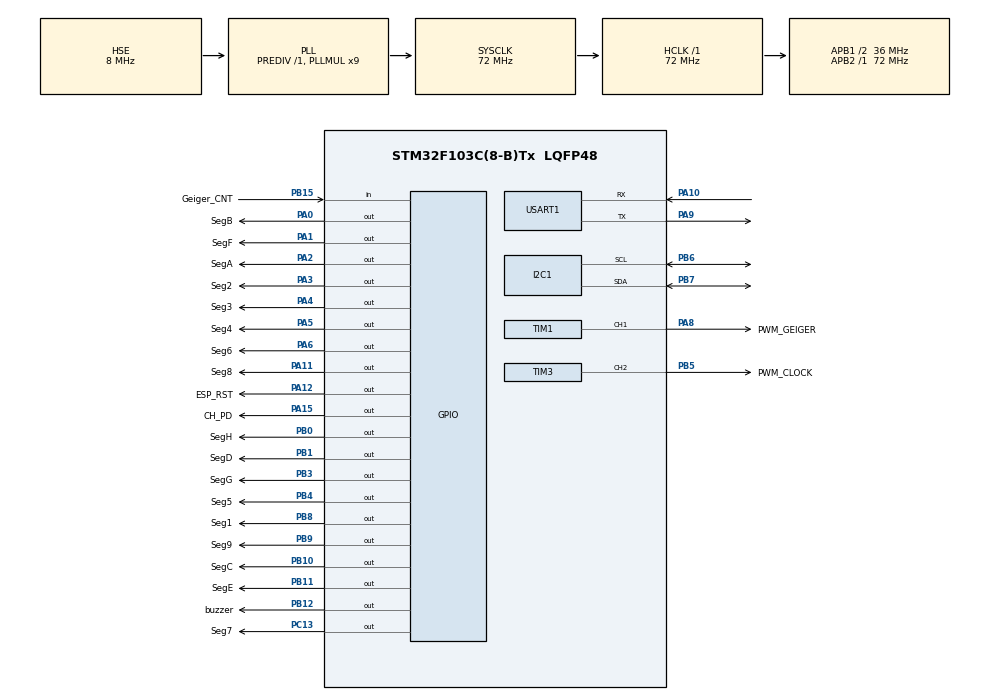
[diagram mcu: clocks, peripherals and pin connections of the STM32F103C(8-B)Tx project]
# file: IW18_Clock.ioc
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Mcu.Family=STM32F1
Mcu.Name=STM32F103C(8-B)Tx
Mcu.Package=LQFP48
NVIC.PriorityGroup=NVIC_PRIORITYGROUP_4
NVIC.TIM2_IRQn=true\:0\:0\:false\:false\:true\:true
NVIC.USART1_IRQn=true\:0\:0\:false\:false\:true\:true
PA0-WKUP.GPIO_Label=SegB
PA0-WKUP.GPIO_Speed=GPIO_SPEED_FREQ_HIGH
PA0-WKUP.PinState=GPIO_PIN_SET
PA0-WKUP.Signal=GPIO_Output
PA1.GPIO_Label=SegF
PA1.GPIO_Speed=GPIO_SPEED_FREQ_HIGH
PA1.PinState=GPIO_PIN_SET
PA1.Signal=GPIO_Output
PA10.GPIO_PuPd=GPIO_PULLUP
PA10.Mode=Asynchronous
PA10.Signal=USART1_RX
PA11.GPIO_Label=Seg8
PA11.GPIO_Speed=GPIO_SPEED_FREQ_HIGH
PA11.PinState=GPIO_PIN_SET
PA11.Signal=GPIO_Output
PA12.GPIO_Label=ESP_RST
PA12.Signal=GPIO_Output
PA13.Mode=Serial_Wire
PA13.Signal=SYS_JTMS-SWDIO
PA14.Mode=Serial_Wire
PA14.Signal=SYS_JTCK-SWCLK
PA15.GPIO_Label=CH_PD
PA15.Signal=GPIO_Output
PA2.GPIO_Label=SegA
PA2.GPIO_Speed=GPIO_SPEED_FREQ_HIGH
PA2.PinState=GPIO_PIN_SET
PA2.Signal=GPIO_Output
PA3.GPIO_Label=Seg2
PA3.GPIO_ModeDefaultOutputPP=GPIO_MODE_OUTPUT_PP
PA3.GPIO_Speed=GPIO_SPEED_FREQ_HIGH
PA3.PinState=GPIO_PIN_SET
PA3.Signal=GPIO_Output
PA4.GPIO_Label=Seg3
PA4.GPIO_ModeDefaultOutputPP=GPIO_MODE_OUTPUT_PP
PA4.GPIO_Speed=GPIO_SPEED_FREQ_HIGH
PA4.PinState=GPIO_PIN_SET
PA4.Signal=GPIO_Output
PA5.GPIO_Label=Seg4
PA5.GPIO_ModeDefaultOutputPP=GPIO_MODE_OUTPUT_PP
PA5.GPIO_Speed=GPIO_SPEED_FREQ_HIGH
PA5.PinState=GPIO_PIN_SET
PA5.Signal=GPIO_Output
PA6.GPIO_Label=Seg6
PA6.GPIO_Speed=GPIO_SPEED_FREQ_HIGH
PA6.PinState=GPIO_PIN_SET
PA6.Signal=GPIO_Output
PA8.GPIO_Label=PWM_GEIGER
PA8.Signal=S_TIM1_CH1
PA9.Mode=Asynchronous
PA9.Signal=USART1_TX
PB0.GPIO_Label=SegH
PB0.GPIO_Speed=GPIO_SPEED_FREQ_HIGH
PB0.PinState=GPIO_PIN_SET
PB0.Signal=GPIO_Output
PB1.GPIO_Label=SegD
PB1.GPIO_Speed=GPIO_SPEED_FREQ_HIGH
PB1.PinState=GPIO_PIN_SET
PB1.Signal=GPIO_Output
PB10.GPIO_Label=SegC
PB10.GPIO_Speed=GPIO_SPEED_FREQ_HIGH
PB10.PinState=GPIO_PIN_SET
PB10.Signal=GPIO_Output
PB11.GPIO_Label=SegE
PB11.GPIO_Speed=GPIO_SPEED_FREQ_HIGH
PB11.PinState=GPIO_PIN_SET
PB11.Signal=GPIO_Output
PB12.GPIO_Label=buzzer
PB12.GPIO_Speed=GPIO_SPEED_FREQ_HIGH
PB12.PinState=GPIO_PIN_SET
PB12.Signal=GPIO_Output
PB15.GPIO_Label=Geiger_CNT
PB15.GPIO_PuPd=GPIO_PULLUP
PB15.Signal=GPIO_Input
PB3.GPIO_Label=SegG
PB3.GPIO_Speed=GPIO_SPEED_FREQ_HIGH
PB3.PinState=GPIO_PIN_SET
PB3.Signal=GPIO_Output
PB4.GPIO_Label=Seg5
PB4.GPIO_Speed=GPIO_SPEED_FREQ_HIGH
PB4.PinState=GPIO_PIN_SET
PB4.Signal=GPIO_Output
PB5.GPIO_Label=PWM_CLOCK
PB5.Signal=S_TIM3_CH2
PB6.Mode=I2C
PB6.Signal=I2C1_SCL
PB7.Mode=I2C
PB7.Signal=I2C1_SDA
PB8.GPIO_Label=Seg1
PB8.GPIO_ModeDefaultOutputPP=GPIO_MODE_OUTPUT_PP
PB8.GPIO_Speed=GPIO_SPEED_FREQ_HIGH
PB8.PinState=GPIO_PIN_SET
PB8.Signal=GPIO_Output
PB9.GPIO_Label=Seg9
PB9.GPIO_ModeDefaultOutputPP=GPIO_MODE_OUTPUT_PP
PB9.GPIO_Speed=GPIO_SPEED_FREQ_HIGH
PB9.PinState=GPIO_PIN_SET
PB9.Signal=GPIO_Output
PC13-TAMPER-RTC.GPIO_Label=Seg7
PC13-TAMPER-RTC.GPIO_Speed=GPIO_SPEED_FREQ_HIGH
PC13-TAMPER-RTC.PinState=GPIO_PIN_SET
PC13-TAMPER-RTC.Signal=GPIO_Output
PC14-OSC32_IN.Mode=LSE-External-Oscillator
PC14-OSC32_IN.Signal=RCC_OSC32_IN
PC15-OSC32_OUT.Mode=LSE-External-Oscillator
PC15-OSC32_OUT.Signal=RCC_OSC32_OUT
PD0-OSC_IN.Mode=HSE-External-Oscillator
PD0-OSC_IN.Signal=RCC_OSC_IN
PD1-OSC_OUT.Mode=HSE-External-Oscillator
PD1-OSC_OUT.Signal=RCC_OSC_OUT
ProjectManager.HeapSize=0x200
ProjectManager.StackSize=0x400
ProjectManager.TargetToolchain=TrueSTUDIO
RCC.AHBFreq_Value=72000000
RCC.APB1CLKDivider=RCC_HCLK_DIV2
RCC.APB1Freq_Value=36000000
RCC.APB1TimFreq_Value=72000000
RCC.APB2Freq_Value=72000000
RCC.APB2TimFreq_Value=72000000
RCC.EnbaleCSS=true
RCC.HCLKFreq_Value=72000000
RCC.PLLMUL=RCC_PLL_MUL9
RCC.PLLSourceVirtual=RCC_PLLSOURCE_HSE
RCC.SYSCLKFreq_VALUE=72000000
RCC.SYSCLKSource=RCC_SYSCLKSOURCE_PLLCLK
RCC.USBFreq_Value=72000000
RTC.AsynchPrediv=RTC_AUTO_1_SECOND
RTC.AutoPrediv=RTC_AUTO_1_SECOND
RTC.Date=5
RTC.Format=RTC_FORMAT_BIN
RTC.Hours=9
RTC.Minutes=48
RTC.Month=RTC_MONTH_NOVEMBER
RTC.WeekDay=RTC_WEEKDAY_SUNDAY
RTC.Year=17
SH.S_TIM1_CH1.0=TIM1_CH1,PWM Generation1 CH1
SH.S_TIM3_CH2.0=TIM3_CH2,PWM Generation2 CH2
TIM1.Channel-PWM\ Generation1\ CH1=TIM_CHANNEL_1
TIM1.OCFastMode_PWM-PWM\ Generation1\ CH1=TIM_OCFAST_DISABLE
TIM1.OCPolarity_1=TIM_OCPOLARITY_HIGH
TIM1.Period=65535
TIM1.Prescaler=0
TIM1.Pulse-PWM\ Generation1\ CH1=100
TIM1.RepetitionCounter=200
TIM2.AutoReloadPreload=TIM_AUTORELOAD_PRELOAD_ENABLE
TIM2.Period=1
TIM2.Prescaler=28500
TIM3.Channel-PWM\ Generation2\ CH2=TIM_CHANNEL_2
USART1.VirtualMode=VM_ASYNC
VP_RTC_No_RTC_Output.Mode=RTC_OUT_NO
VP_RTC_VS_RTC_Activate.Mode=RTC_Enabled
VP_RTC_VS_RTC_Calendar.Mode=RTC_Calendar
VP_TIM1_VS_ClockSourceINT.Mode=Internal
VP_TIM2_VS_ClockSourceINT.Mode=Internal
VP_TIM2_VS_ClockSourceITR.Mode=TriggerSource_ITR0
VP_TIM2_VS_ControllerModeReset.Mode=Reset Mode
VP_TIM3_VS_ClockSourceINT.Mode=Internal
board=IW18_Clock

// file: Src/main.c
/**
  ******************************************************************************
  * @file           : main.c
  * @brief          : Main program body
  ******************************************************************************
  ** This notice applies to any and all portions of this file
  * that are not between comment pairs USER CODE BEGIN and
  * USER CODE END. Other portions of this file, whether
  * inserted by the user or by software development tools
  * are owned by their respective copyright owners.
  *
  * COPYRIGHT(c) 2018 STMicroelectronics
  *
  * Redistribution and use in source and binary forms, with or without modification,
  * are permitted provided that the following conditions are met:
  *   1. Redistributions of source code must retain the above copyright notice,
  *      this list of conditions and the following disclaimer.
  *   2. Redistributions in binary form must reproduce the above copyright notice,
  *      this list of conditions and the following disclaimer in the documentation
  *      and/or other materials provided with the distribution.
  *   3. Neither the name of STMicroelectronics nor the names of its contributors
  *      may be used to endorse or promote products derived from this software
  *      without specific prior written permission.
  *
  * THIS SOFTWARE IS PROVIDED BY THE COPYRIGHT HOLDERS AND CONTRIBUTORS "AS IS"
  * AND ANY EXPRESS OR IMPLIED WARRANTIES, INCLUDING, BUT NOT LIMITED TO, THE
  * IMPLIED WARRANTIES OF MERCHANTABILITY AND FITNESS FOR A PARTICULAR PURPOSE ARE
  * DISCLAIMED. IN NO EVENT SHALL THE COPYRIGHT HOLDER OR CONTRIBUTORS BE LIABLE
  * FOR ANY DIRECT, INDIRECT, INCIDENTAL, SPECIAL, EXEMPLARY, OR CONSEQUENTIAL
  * DAMAGES (INCLUDING, BUT NOT LIMITED TO, PROCUREMENT OF SUBSTITUTE GOODS OR
  * SERVICES; LOSS OF USE, DATA, OR PROFITS; OR BUSINESS INTERRUPTION) HOWEVER
  * CAUSED AND ON ANY THEORY OF LIABILITY, WHETHER IN CONTRACT, STRICT LIABILITY,
  * OR TORT (INCLUDING NEGLIGENCE OR OTHERWISE) ARISING IN ANY WAY OUT OF THE USE
  * OF THIS SOFTWARE, EVEN IF ADVISED OF THE POSSIBILITY OF SUCH DAMAGE.
  *
  ******************************************************************************
  */
#include "main.h"
#include "stm32f1xx_hal.h"

/* USER CODE BEGIN Includes */
#include <string.h> /* memset */
#include <unistd.h> /* close */
#include "stm32f1xx_hal_uart.h"
#include <stdlib.h>     /* atoi */
#include "Buffers.h"
#include "UartCommand.h"
#include "CommandsManager.h"
#include "Ntp.h"
/* USER CODE END Includes */

I2C_HandleTypeDef hi2c1;

RTC_HandleTypeDef hrtc;

TIM_HandleTypeDef htim1;
TIM_HandleTypeDef htim2;
TIM_HandleTypeDef htim3;

UART_HandleTypeDef huart1;

/* USER CODE BEGIN PV */
/* Private variables ---------------------------------------------------------*/
static char buf[10] = {0};
static IW18_PinState dots[9] = {OFF};
IW18_PinState uart_led = OFF;
static uint8_t index = 0;
static UartCommand* pCommands2 = 0;
/* USER CODE END PV */

void SystemClock_Config(void);
static void MX_GPIO_Init(void);
static void MX_I2C1_Init(void);
static void MX_USART1_UART_Init(void);
static void MX_RTC_Init(void);
static void MX_TIM2_Init(void);
static void MX_TIM1_Init(void);
static void MX_TIM3_Init(void);

void HAL_TIM_MspPostInit(TIM_HandleTypeDef *htim);

/* USER CODE BEGIN PFP */
/* Private function prototypes -----------------------------------------------*/
void gpio_clr(GPIO_PinState state);
void printCharOnSegment(GPIO_TypeDef* GPIOx, uint16_t GPIO_Pin, char num, IW18_PinState dot);
void setDateTime(char* pBuf);
void user_pwm_setvalue(uint16_t value);
extern void TIM2_callback();

/* USER CODE END PFP */

/* USER CODE BEGIN 0 */
extern void initialise_monitor_handles(void);
/* USER CODE END 0 */

int main(void)
{

  /* MCU Configuration----------------------------------------------------------*/

  /* Reset of all peripherals, Initializes the Flash interface and the Systick. */
  HAL_Init();

  /* Configure the system clock */
  SystemClock_Config();

  /* Initialize all configured peripherals */
  MX_GPIO_Init();
  MX_I2C1_Init();
  MX_USART1_UART_Init();
  MX_RTC_Init();
  MX_TIM2_Init();
  MX_TIM1_Init();
  MX_TIM3_Init();
  /* USER CODE BEGIN 2 */
  HAL_TIM_Base_Start_IT(&htim2);
  //user_pwm_setvalue(100);
  HAL_TIM_PWM_Start(&htim1, TIM_CHANNEL_1);

  //user_pwm_setvalue(300);
  HAL_TIM_PWM_Start(&htim1, TIM_CHANNEL_1);

  /* USER CODE END 2 */

  /* Infinite loop */
  /* USER CODE BEGIN WHILE */
  //initialise_monitor_handles();
  CM_init();
  Buffers_init();
  NTP_init(&hrtc);
  CM_SetUartHandle(&huart1);
  memset(dots,OFF,9);
  UartCommand test[5];
  pCommands2 = &test[0];
  //test[0] = UC_CreateUartCommand(GetCmdID(), NTP_ReserveBufferTxEnter, ReadEnter);
//  test[0] = UC_CreateUartCommand(GetCmdID(), NTP_ReserveBufferTx4Sync, ReadSync);
//  test[1] = UC_CreateUartCommand(GetCmdID(), NTP_ReserveBufferTx4Time, ReadTime);
//  test[2] = UC_CreateUartCommand(GetCmdID(), NTP_ReserveBufferTx4Hum, ReadHumi);

  UartCommand* cmd = &test[index];
  //HAL_StatusTypeDef def = HAL_UART_Transmit_IT(&huart1, (uint8_t*)(cmd->m_Tx.buf_cmd), cmd->m_Tx.buf_size);
  cmd = &test[1];
  RTC_TimeTypeDef sTime;

  sTime.Hours = 0;
  sTime.Minutes = 0;
  sTime.Seconds = 0x0;

  RTC_DateTypeDef DateToUpdate;
  HAL_RTC_GetDate(&hrtc, &DateToUpdate, RTC_FORMAT_BIN);
  uint16_t pwm=0;

  while (1)
  {
  /* USER CODE END WHILE */

  /* USER CODE BEGIN 3 */
	 // HAL_Delay(500);
	  //HAL_TIM_PWM_Stop(&htim1, TIM_CHANNEL_1);
	  //user_pwm_setvalue(pwm);
	  pwm=pwm+10;
	  if(pwm>1000) pwm=0;
	  //HAL_TIM_PWM_Start(&htim1, TIM_CHANNEL_1);

	  //HAL_Delay(1000);
	  CM_StateManager();
	  CM_ExecuteCommand();
	  GPIO_PinState state = HAL_GPIO_ReadPin(GPIOB,Geiger_CNT_Pin);
	  if(state == GPIO_PIN_SET)
	  {
		  HAL_Delay(100);
		  state = GPIO_PIN_RESET;
	  }

//  cmd = &test[1];
//  if(cmd->m_IsRecivedData)
//  {
//	  setDateTime(cmd->m_Rx.buf_cmd);
//	  cmd->m_IsRecivedData = 0;
//  }
//
//  cmd = &test[2];
//  if(cmd->m_IsRecivedData)
//  {
//	  //setHumidity(cmd->m_Rx.buf_cmd);
//	  cmd->m_IsRecivedData = 0;
//  }
//
//  if( HAL_OK== HAL_RTC_GetTime(&hrtc, &sTime, RTC_FORMAT_BIN) )
//  {
//	  sprintf(&buf[0],"%02d-%02d-%02d", sTime.Hours, sTime.Minutes, sTime.Seconds );
//  }

  }
  /* USER CODE END 3 */

}

void SystemClock_Config(void)
{

  RCC_OscInitTypeDef RCC_OscInitStruct;
  RCC_ClkInitTypeDef RCC_ClkInitStruct;
  RCC_PeriphCLKInitTypeDef PeriphClkInit;

    /**Initializes the CPU, AHB and APB busses clocks
    */
  RCC_OscInitStruct.OscillatorType = RCC_OSCILLATORTYPE_LSI|RCC_OSCILLATORTYPE_HSE;
  RCC_OscInitStruct.HSEState = RCC_HSE_ON;
  RCC_OscInitStruct.HSEPredivValue = RCC_HSE_PREDIV_DIV1;
  RCC_OscInitStruct.HSIState = RCC_HSI_ON;
  RCC_OscInitStruct.LSIState = RCC_LSI_ON;
  RCC_OscInitStruct.PLL.PLLState = RCC_PLL_ON;
  RCC_OscInitStruct.PLL.PLLSource = RCC_PLLSOURCE_HSE;
  RCC_OscInitStruct.PLL.PLLMUL = RCC_PLL_MUL9;
  if (HAL_RCC_OscConfig(&RCC_OscInitStruct) != HAL_OK)
  {
    _Error_Handler(__FILE__, __LINE__);
  }

    /**Initializes the CPU, AHB and APB busses clocks
    */
  RCC_ClkInitStruct.ClockType = RCC_CLOCKTYPE_HCLK|RCC_CLOCKTYPE_SYSCLK
                              |RCC_CLOCKTYPE_PCLK1|RCC_CLOCKTYPE_PCLK2;
  RCC_ClkInitStruct.SYSCLKSource = RCC_SYSCLKSOURCE_PLLCLK;
  RCC_ClkInitStruct.AHBCLKDivider = RCC_SYSCLK_DIV1;
  RCC_ClkInitStruct.APB1CLKDivider = RCC_HCLK_DIV2;
  RCC_ClkInitStruct.APB2CLKDivider = RCC_HCLK_DIV1;

  if (HAL_RCC_ClockConfig(&RCC_ClkInitStruct, FLASH_LATENCY_2) != HAL_OK)
  {
    _Error_Handler(__FILE__, __LINE__);
  }

  PeriphClkInit.PeriphClockSelection = RCC_PERIPHCLK_RTC;
  PeriphClkInit.RTCClockSelection = RCC_RTCCLKSOURCE_LSI;
  if (HAL_RCCEx_PeriphCLKConfig(&PeriphClkInit) != HAL_OK)
  {
    _Error_Handler(__FILE__, __LINE__);
  }

    /**Enables the Clock Security System
    */
  HAL_RCC_EnableCSS();

    /**Configure the Systick interrupt time
    */
  HAL_SYSTICK_Config(HAL_RCC_GetHCLKFreq()/1000);

    /**Configure the Systick
    */
  HAL_SYSTICK_CLKSourceConfig(SYSTICK_CLKSOURCE_HCLK);

  /* SysTick_IRQn interrupt configuration */
  HAL_NVIC_SetPriority(SysTick_IRQn, 0, 0);
}

/* I2C1 init function */
static void MX_I2C1_Init(void)
{

  hi2c1.Instance = I2C1;
  hi2c1.Init.ClockSpeed = 100000;
  hi2c1.Init.DutyCycle = I2C_DUTYCYCLE_2;
  hi2c1.Init.OwnAddress1 = 0;
  hi2c1.Init.AddressingMode = I2C_ADDRESSINGMODE_7BIT;
  hi2c1.Init.DualAddressMode = I2C_DUALADDRESS_DISABLE;
  hi2c1.Init.OwnAddress2 = 0;
  hi2c1.Init.GeneralCallMode = I2C_GENERALCALL_DISABLE;
  hi2c1.Init.NoStretchMode = I2C_NOSTRETCH_DISABLE;
  if (HAL_I2C_Init(&hi2c1) != HAL_OK)
  {
    _Error_Handler(__FILE__, __LINE__);
  }

}

/* RTC init function */
static void MX_RTC_Init(void)
{

  RTC_TimeTypeDef sTime;
  RTC_DateTypeDef DateToUpdate;

    /**Initialize RTC Only
    */
  hrtc.Instance = RTC;
  if(HAL_RTCEx_BKUPRead(&hrtc, RTC_BKP_DR1) != 0x32F2){
  hrtc.Init.AsynchPrediv = RTC_AUTO_1_SECOND;
  hrtc.Init.OutPut = RTC_OUTPUTSOURCE_NONE;
  if (HAL_RTC_Init(&hrtc) != HAL_OK)
  {
    _Error_Handler(__FILE__, __LINE__);
  }

    /**Initialize RTC and set the Time and Date
    */
  sTime.Hours = 9;
  sTime.Minutes = 48;
  sTime.Seconds = 0;

  if (HAL_RTC_SetTime(&hrtc, &sTime, RTC_FORMAT_BIN) != HAL_OK)
  {
    _Error_Handler(__FILE__, __LINE__);
  }

  DateToUpdate.WeekDay = RTC_WEEKDAY_SUNDAY;
  DateToUpdate.Month = RTC_MONTH_NOVEMBER;
  DateToUpdate.Date = 5;
  DateToUpdate.Year = 17;

  if (HAL_RTC_SetDate(&hrtc, &DateToUpdate, RTC_FORMAT_BIN) != HAL_OK)
  {
    _Error_Handler(__FILE__, __LINE__);
  }

    HAL_RTCEx_BKUPWrite(&hrtc,RTC_BKP_DR1,0x32F2);
  }

}

/* TIM1 init function */
static void MX_TIM1_Init(void)
{

  TIM_ClockConfigTypeDef sClockSourceConfig;
  TIM_MasterConfigTypeDef sMasterConfig;
  TIM_OC_InitTypeDef sConfigOC;
  TIM_BreakDeadTimeConfigTypeDef sBreakDeadTimeConfig;

  htim1.Instance = TIM1;
  htim1.Init.Prescaler = 0;
  htim1.Init.CounterMode = TIM_COUNTERMODE_UP;
  htim1.Init.Period = 65535;
  htim1.Init.ClockDivision = TIM_CLOCKDIVISION_DIV1;
  htim1.Init.RepetitionCounter = 200;
  htim1.Init.AutoReloadPreload = TIM_AUTORELOAD_PRELOAD_DISABLE;
  if (HAL_TIM_Base_Init(&htim1) != HAL_OK)
  {
    _Error_Handler(__FILE__, __LINE__);
  }

  sClockSourceConfig.ClockSource = TIM_CLOCKSOURCE_INTERNAL;
  if (HAL_TIM_ConfigClockSource(&htim1, &sClockSourceConfig) != HAL_OK)
  {
    _Error_Handler(__FILE__, __LINE__);
  }

  if (HAL_TIM_PWM_Init(&htim1) != HAL_OK)
  {
    _Error_Handler(__FILE__, __LINE__);
  }

  sMasterConfig.MasterOutputTrigger = TIM_TRGO_RESET;
  sMasterConfig.MasterSlaveMode = TIM_MASTERSLAVEMODE_DISABLE;
  if (HAL_TIMEx_MasterConfigSynchronization(&htim1, &sMasterConfig) != HAL_OK)
  {
    _Error_Handler(__FILE__, __LINE__);
  }

  sConfigOC.OCMode = TIM_OCMODE_PWM1;
  sConfigOC.Pulse = 100;
  sConfigOC.OCPolarity = TIM_OCPOLARITY_HIGH;
  sConfigOC.OCNPolarity = TIM_OCNPOLARITY_HIGH;
  sConfigOC.OCFastMode = TIM_OCFAST_DISABLE;
  sConfigOC.OCIdleState = TIM_OCIDLESTATE_RESET;
  sConfigOC.OCNIdleState = TIM_OCNIDLESTATE_RESET;
  if (HAL_TIM_PWM_ConfigChannel(&htim1, &sConfigOC, TIM_CHANNEL_1) != HAL_OK)
  {
    _Error_Handler(__FILE__, __LINE__);
  }

  sBreakDeadTimeConfig.OffStateRunMode = TIM_OSSR_DISABLE;
  sBreakDeadTimeConfig.OffStateIDLEMode = TIM_OSSI_DISABLE;
  sBreakDeadTimeConfig.LockLevel = TIM_LOCKLEVEL_OFF;
  sBreakDeadTimeConfig.DeadTime = 0;
  sBreakDeadTimeConfig.BreakState = TIM_BREAK_DISABLE;
  sBreakDeadTimeConfig.BreakPolarity = TIM_BREAKPOLARITY_HIGH;
  sBreakDeadTimeConfig.AutomaticOutput = TIM_AUTOMATICOUTPUT_DISABLE;
  if (HAL_TIMEx_ConfigBreakDeadTime(&htim1, &sBreakDeadTimeConfig) != HAL_OK)
  {
    _Error_Handler(__FILE__, __LINE__);
  }

  HAL_TIM_MspPostInit(&htim1);

}

/* TIM2 init function */
static void MX_TIM2_Init(void)
{

  TIM_ClockConfigTypeDef sClockSourceConfig;
  TIM_SlaveConfigTypeDef sSlaveConfig;
  TIM_MasterConfigTypeDef sMasterConfig;

  htim2.Instance = TIM2;
  htim2.Init.Prescaler = 28500;
  htim2.Init.CounterMode = TIM_COUNTERMODE_UP;
  htim2.Init.Period = 1;
  htim2.Init.ClockDivision = TIM_CLOCKDIVISION_DIV1;
  htim2.Init.AutoReloadPreload = TIM_AUTORELOAD_PRELOAD_ENABLE;
  if (HAL_TIM_Base_Init(&htim2) != HAL_OK)
  {
    _Error_Handler(__FILE__, __LINE__);
  }

  sClockSourceConfig.ClockSource = TIM_CLOCKSOURCE_INTERNAL;
  if (HAL_TIM_ConfigClockSource(&htim2, &sClockSourceConfig) != HAL_OK)
  {
    _Error_Handler(__FILE__, __LINE__);
  }

  sSlaveConfig.SlaveMode = TIM_SLAVEMODE_RESET;
  sSlaveConfig.InputTrigger = TIM_TS_ITR0;
  if (HAL_TIM_SlaveConfigSynchronization(&htim2, &sSlaveConfig) != HAL_OK)
  {
    _Error_Handler(__FILE__, __LINE__);
  }

  sMasterConfig.MasterOutputTrigger = TIM_TRGO_RESET;
  sMasterConfig.MasterSlaveMode = TIM_MASTERSLAVEMODE_DISABLE;
  if (HAL_TIMEx_MasterConfigSynchronization(&htim2, &sMasterConfig) != HAL_OK)
  {
    _Error_Handler(__FILE__, __LINE__);
  }

}

/* TIM3 init function */
static void MX_TIM3_Init(void)
{

  TIM_ClockConfigTypeDef sClockSourceConfig;
  TIM_MasterConfigTypeDef sMasterConfig;
  TIM_OC_InitTypeDef sConfigOC;

  htim3.Instance = TIM3;
  htim3.Init.Prescaler = 0;
  htim3.Init.CounterMode = TIM_COUNTERMODE_UP;
  htim3.Init.Period = 0;
  htim3.Init.ClockDivision = TIM_CLOCKDIVISION_DIV1;
  htim3.Init.AutoReloadPreload = TIM_AUTORELOAD_PRELOAD_DISABLE;
  if (HAL_TIM_Base_Init(&htim3) != HAL_OK)
  {
    _Error_Handler(__FILE__, __LINE__);
  }

  sClockSourceConfig.ClockSource = TIM_CLOCKSOURCE_INTERNAL;
  if (HAL_TIM_ConfigClockSource(&htim3, &sClockSourceConfig) != HAL_OK)
  {
    _Error_Handler(__FILE__, __LINE__);
  }

  if (HAL_TIM_PWM_Init(&htim3) != HAL_OK)
  {
    _Error_Handler(__FILE__, __LINE__);
  }

  sMasterConfig.MasterOutputTrigger = TIM_TRGO_RESET;
  sMasterConfig.MasterSlaveMode = TIM_MASTERSLAVEMODE_DISABLE;
  if (HAL_TIMEx_MasterConfigSynchronization(&htim3, &sMasterConfig) != HAL_OK)
  {
    _Error_Handler(__FILE__, __LINE__);
  }

  sConfigOC.OCMode = TIM_OCMODE_PWM1;
  sConfigOC.Pulse = 0;
  sConfigOC.OCPolarity = TIM_OCPOLARITY_HIGH;
  sConfigOC.OCFastMode = TIM_OCFAST_DISABLE;
  if (HAL_TIM_PWM_ConfigChannel(&htim3, &sConfigOC, TIM_CHANNEL_2) != HAL_OK)
  {
    _Error_Handler(__FILE__, __LINE__);
  }

  HAL_TIM_MspPostInit(&htim3);

}

/* USART1 init function */
static void MX_USART1_UART_Init(void)
{

  huart1.Instance = USART1;
  huart1.Init.BaudRate = 115200;
  huart1.Init.WordLength = UART_WORDLENGTH_8B;
  huart1.Init.StopBits = UART_STOPBITS_1;
  huart1.Init.Parity = UART_PARITY_NONE;
  huart1.Init.Mode = UART_MODE_TX_RX;
  huart1.Init.HwFlowCtl = UART_HWCONTROL_NONE;
  huart1.Init.OverSampling = UART_OVERSAMPLING_16;
  if (HAL_UART_Init(&huart1) != HAL_OK)
  {
    _Error_Handler(__FILE__, __LINE__);
  }

}

/** Configure pins as
        * Analog
        * Input
        * Output
        * EVENT_OUT
        * EXTI
*/
static void MX_GPIO_Init(void)
{

  GPIO_InitTypeDef GPIO_InitStruct;

  /* GPIO Ports Clock Enable */
  __HAL_RCC_GPIOC_CLK_ENABLE();
  __HAL_RCC_GPIOD_CLK_ENABLE();
  __HAL_RCC_GPIOA_CLK_ENABLE();
  __HAL_RCC_GPIOB_CLK_ENABLE();

  /*Configure GPIO pin Output Level */
  HAL_GPIO_WritePin(Seg7_GPIO_Port, Seg7_Pin, GPIO_PIN_SET);

  /*Configure GPIO pin Output Level */
  HAL_GPIO_WritePin(GPIOA, SegB_Pin|SegF_Pin|SegA_Pin|Seg2_Pin
                          |Seg3_Pin|Seg4_Pin|Seg6_Pin|Seg8_Pin, GPIO_PIN_SET);

  /*Configure GPIO pin Output Level */
  HAL_GPIO_WritePin(GPIOB, SegH_Pin|SegD_Pin|SegC_Pin|SegE_Pin
                          |buzzer_Pin|SegG_Pin|Seg5_Pin|Seg1_Pin
                          |Seg9_Pin, GPIO_PIN_SET);

  /*Configure GPIO pin Output Level */
  HAL_GPIO_WritePin(GPIOA, ESP_RST_Pin|CH_PD_Pin, GPIO_PIN_RESET);

  /*Configure GPIO pin : Seg7_Pin */
  GPIO_InitStruct.Pin = Seg7_Pin;
  GPIO_InitStruct.Mode = GPIO_MODE_OUTPUT_PP;
  GPIO_InitStruct.Speed = GPIO_SPEED_FREQ_HIGH;
  HAL_GPIO_Init(Seg7_GPIO_Port, &GPIO_InitStruct);

  /*Configure GPIO pins : SegB_Pin SegF_Pin SegA_Pin Seg2_Pin
                           Seg3_Pin Seg4_Pin Seg6_Pin Seg8_Pin */
  GPIO_InitStruct.Pin = SegB_Pin|SegF_Pin|SegA_Pin|Seg2_Pin
                          |Seg3_Pin|Seg4_Pin|Seg6_Pin|Seg8_Pin;
  GPIO_InitStruct.Mode = GPIO_MODE_OUTPUT_PP;
  GPIO_InitStruct.Speed = GPIO_SPEED_FREQ_HIGH;
  HAL_GPIO_Init(GPIOA, &GPIO_InitStruct);

  /*Configure GPIO pins : SegH_Pin SegD_Pin SegC_Pin SegE_Pin
                           buzzer_Pin SegG_Pin Seg5_Pin Seg1_Pin
                           Seg9_Pin */
  GPIO_InitStruct.Pin = SegH_Pin|SegD_Pin|SegC_Pin|SegE_Pin
                          |buzzer_Pin|SegG_Pin|Seg5_Pin|Seg1_Pin
                          |Seg9_Pin;
  GPIO_InitStruct.Mode = GPIO_MODE_OUTPUT_PP;
  GPIO_InitStruct.Speed = GPIO_SPEED_FREQ_HIGH;
  HAL_GPIO_Init(GPIOB, &GPIO_InitStruct);

  /*Configure GPIO pin : Geiger_CNT_Pin */
  GPIO_InitStruct.Pin = Geiger_CNT_Pin;
  GPIO_InitStruct.Mode = GPIO_MODE_INPUT;
  GPIO_InitStruct.Pull = GPIO_NOPULL;
  HAL_GPIO_Init(Geiger_CNT_GPIO_Port, &GPIO_InitStruct);

  /*Configure GPIO pins : ESP_RST_Pin CH_PD_Pin */
  GPIO_InitStruct.Pin = ESP_RST_Pin|CH_PD_Pin;
  GPIO_InitStruct.Mode = GPIO_MODE_OUTPUT_PP;
  GPIO_InitStruct.Speed = GPIO_SPEED_FREQ_LOW;
  HAL_GPIO_Init(GPIOA, &GPIO_InitStruct);
}

/* USER CODE BEGIN 4 */
void gpio_clr(GPIO_PinState state)
{
	  HAL_GPIO_WritePin(GPIOB, Seg1_Pin|Seg5_Pin|Seg9_Pin|SegC_Pin|SegD_Pin|SegE_Pin|SegG_Pin|SegH_Pin, state);
	  HAL_GPIO_WritePin(GPIOC, Seg7_Pin, state);
	  HAL_GPIO_WritePin(GPIOA, Seg2_Pin|Seg3_Pin|Seg4_Pin|Seg6_Pin|Seg8_Pin|SegA_Pin|SegB_Pin|SegF_Pin, state);
}
void user_pwm_setvalue(uint16_t value)
{
    TIM_OC_InitTypeDef sConfigOC;

    sConfigOC.OCMode = TIM_OCMODE_PWM1;
    sConfigOC.Pulse = value;
    sConfigOC.OCPolarity = TIM_OCPOLARITY_HIGH;
    sConfigOC.OCFastMode = TIM_OCFAST_ENABLE;
    HAL_TIM_PWM_ConfigChannel(&htim1, &sConfigOC, TIM_CHANNEL_1);

//    while((TIM1->EGR & TIM_EGR_UG) == SET){}
//
     TIM1->EGR |= TIM_EGR_UG;
//     TIM1->BDTR |= TIM_BDTR_MOE;
//     TIM1->CCER |= TIM_CCER_CC1E;
//     TIM1->CR1 |= TIM_CR1_CEN;
    HAL_TIM_PWM_Start(&htim1, TIM_CHANNEL_1);
}
void printCharOnSegment(GPIO_TypeDef* GPIOx, uint16_t GPIO_Pin, char num, IW18_PinState dot)
{

	gpio_clr(OFF);

	HAL_GPIO_WritePin(GPIOx, GPIO_Pin, ON);
	// '-' = 45, //'0' = 48 ....'9' = 59
	if(num == '0'){

		  HAL_GPIO_WritePin(GPIOA,SegA_Pin,ON);
		  HAL_GPIO_WritePin(GPIOA,SegB_Pin,ON);
		  HAL_GPIO_WritePin(GPIOB,SegC_Pin,ON);
		  HAL_GPIO_WritePin(GPIOB,SegD_Pin,ON);
		  HAL_GPIO_WritePin(GPIOB,SegE_Pin,ON);
		  HAL_GPIO_WritePin(GPIOA,SegF_Pin,ON);
		  HAL_GPIO_WritePin(GPIOB,SegG_Pin,OFF);
		  HAL_GPIO_WritePin(GPIOB,SegH_Pin,dot);
	}
	else if (num == '1') {
		  HAL_GPIO_WritePin(GPIOA,SegA_Pin,OFF);
		  HAL_GPIO_WritePin(GPIOA,SegB_Pin,ON);
		  HAL_GPIO_WritePin(GPIOB,SegC_Pin,ON);
		  HAL_GPIO_WritePin(GPIOB,SegD_Pin,OFF);
		  HAL_GPIO_WritePin(GPIOB,SegE_Pin,OFF);
		  HAL_GPIO_WritePin(GPIOA,SegF_Pin,OFF);
		  HAL_GPIO_WritePin(GPIOB,SegG_Pin,OFF);
		  HAL_GPIO_WritePin(GPIOB,SegH_Pin,dot);
	}
	else if (num == '2') {
		  HAL_GPIO_WritePin(GPIOA,SegA_Pin,ON);
		  HAL_GPIO_WritePin(GPIOA,SegB_Pin,ON);
		  HAL_GPIO_WritePin(GPIOB,SegC_Pin,OFF);
		  HAL_GPIO_WritePin(GPIOB,SegD_Pin,ON);
		  HAL_GPIO_WritePin(GPIOB,SegE_Pin,ON);
		  HAL_GPIO_WritePin(GPIOA,SegF_Pin,OFF);
		  HAL_GPIO_WritePin(GPIOB,SegG_Pin,ON);
		  HAL_GPIO_WritePin(GPIOB,SegH_Pin,dot);
	}
	else if (num == '3') {
		  HAL_GPIO_WritePin(GPIOA,SegA_Pin,ON);
		  HAL_GPIO_WritePin(GPIOA,SegB_Pin,ON);
		  HAL_GPIO_WritePin(GPIOB,SegC_Pin,ON);
		  HAL_GPIO_WritePin(GPIOB,SegD_Pin,ON);
		  HAL_GPIO_WritePin(GPIOB,SegE_Pin,OFF);
		  HAL_GPIO_WritePin(GPIOA,SegF_Pin,OFF);
		  HAL_GPIO_WritePin(GPIOB,SegG_Pin,ON);
		  HAL_GPIO_WritePin(GPIOB,SegH_Pin,dot);
	}
	else if (num == '4') {
		  HAL_GPIO_WritePin(GPIOA,SegA_Pin,OFF);
		  HAL_GPIO_WritePin(GPIOA,SegB_Pin,ON);
		  HAL_GPIO_WritePin(GPIOB,SegC_Pin,ON);
		  HAL_GPIO_WritePin(GPIOB,SegD_Pin,OFF);
		  HAL_GPIO_WritePin(GPIOB,SegE_Pin,OFF);
		  HAL_GPIO_WritePin(GPIOA,SegF_Pin,ON);
		  HAL_GPIO_WritePin(GPIOB,SegG_Pin,ON);
		  HAL_GPIO_WritePin(GPIOB,SegH_Pin,dot);
	}
	else if (num == '5') {
		  HAL_GPIO_WritePin(GPIOA,SegA_Pin,ON);
		  HAL_GPIO_WritePin(GPIOA,SegB_Pin,OFF);
		  HAL_GPIO_WritePin(GPIOB,SegC_Pin,ON);
		  HAL_GPIO_WritePin(GPIOB,SegD_Pin,ON);
		  HAL_GPIO_WritePin(GPIOB,SegE_Pin,OFF);
		  HAL_GPIO_WritePin(GPIOA,SegF_Pin,ON);
		  HAL_GPIO_WritePin(GPIOB,SegG_Pin,ON);
		  HAL_GPIO_WritePin(GPIOE,SegH_Pin,dot);
	}
	else if (num == '6') {
		  HAL_GPIO_WritePin(GPIOA,SegA_Pin,ON);
		  HAL_GPIO_WritePin(GPIOA,SegB_Pin,OFF);
		  HAL_GPIO_WritePin(GPIOB,SegC_Pin,ON);
		  HAL_GPIO_WritePin(GPIOB,SegD_Pin,ON);
		  HAL_GPIO_WritePin(GPIOB,SegE_Pin,ON);
		  HAL_GPIO_WritePin(GPIOA,SegF_Pin,ON);
		  HAL_GPIO_WritePin(GPIOB,SegG_Pin,ON);
		  HAL_GPIO_WritePin(GPIOE,SegH_Pin,dot);
	}
	else if (num == '7') {
		  HAL_GPIO_WritePin(GPIOA,SegA_Pin,ON);
		  HAL_GPIO_WritePin(GPIOA,SegB_Pin,ON);
		  HAL_GPIO_WritePin(GPIOB,SegC_Pin,ON);
		  HAL_GPIO_WritePin(GPIOB,SegD_Pin,OFF);
		  HAL_GPIO_WritePin(GPIOB,SegE_Pin,OFF);
		  HAL_GPIO_WritePin(GPIOA,SegF_Pin,ON);
		  HAL_GPIO_WritePin(GPIOB,SegG_Pin,OFF);
		  HAL_GPIO_WritePin(GPIOE,SegH_Pin,dot);
	}
	else if (num == '8') {
		  HAL_GPIO_WritePin(GPIOA,SegA_Pin,ON);
		  HAL_GPIO_WritePin(GPIOA,SegB_Pin,ON);
		  HAL_GPIO_WritePin(GPIOB,SegC_Pin,ON);
		  HAL_GPIO_WritePin(GPIOB,SegD_Pin,ON);
		  HAL_GPIO_WritePin(GPIOB,SegE_Pin,ON);
		  HAL_GPIO_WritePin(GPIOA,SegF_Pin,ON);
		  HAL_GPIO_WritePin(GPIOB,SegG_Pin,ON);
		  HAL_GPIO_WritePin(GPIOE,SegH_Pin,dot);
	}
	else if (num == '9') {
		  HAL_GPIO_WritePin(GPIOA,SegA_Pin,ON);
		  HAL_GPIO_WritePin(GPIOA,SegB_Pin,ON);
		  HAL_GPIO_WritePin(GPIOB,SegC_Pin,ON);
		  HAL_GPIO_WritePin(GPIOB,SegD_Pin,ON);
		  HAL_GPIO_WritePin(GPIOB,SegE_Pin,OFF);
		  HAL_GPIO_WritePin(GPIOA,SegF_Pin,ON);
		  HAL_GPIO_WritePin(GPIOB,SegG_Pin,ON);
		  HAL_GPIO_WritePin(GPIOB,SegH_Pin,dot);
	}
	else if (num == '-') {
		  HAL_GPIO_WritePin(GPIOA,SegA_Pin,OFF);
		  HAL_GPIO_WritePin(GPIOA,SegB_Pin,OFF);
		  HAL_GPIO_WritePin(GPIOB,SegC_Pin,OFF);
		  HAL_GPIO_WritePin(GPIOB,SegD_Pin,OFF);
		  HAL_GPIO_WritePin(GPIOB,SegE_Pin,OFF);
		  HAL_GPIO_WritePin(GPIOA,SegF_Pin,OFF);
		  HAL_GPIO_WritePin(GPIOB,SegG_Pin,ON);
		  HAL_GPIO_WritePin(GPIOB,SegH_Pin,dot);
	}
	else if (num == '.') {
		  HAL_GPIO_WritePin(GPIOA,SegA_Pin,OFF);
		  HAL_GPIO_WritePin(GPIOA,SegB_Pin,OFF);
		  HAL_GPIO_WritePin(GPIOB,SegC_Pin,OFF);
		  HAL_GPIO_WritePin(GPIOB,SegD_Pin,OFF);
		  HAL_GPIO_WritePin(GPIOB,SegE_Pin,OFF);
		  HAL_GPIO_WritePin(GPIOA,SegF_Pin,OFF);
		  HAL_GPIO_WritePin(GPIOB,SegG_Pin,OFF);
		  HAL_GPIO_WritePin(GPIOB,SegH_Pin,ON);
	}
	else if(num == 'h')
	{
		  HAL_GPIO_WritePin(GPIOA,SegA_Pin,OFF);
		  HAL_GPIO_WritePin(GPIOA,SegB_Pin,OFF);
		  HAL_GPIO_WritePin(GPIOB,SegC_Pin,ON);
		  HAL_GPIO_WritePin(GPIOB,SegD_Pin,OFF);
		  HAL_GPIO_WritePin(GPIOB,SegE_Pin,ON);
		  HAL_GPIO_WritePin(GPIOA,SegF_Pin,ON);
		  HAL_GPIO_WritePin(GPIOB,SegG_Pin,ON);
	}
	else{
		  HAL_GPIO_WritePin(GPIOA,SegA_Pin,OFF);
		  HAL_GPIO_WritePin(GPIOA,SegB_Pin,OFF);
		  HAL_GPIO_WritePin(GPIOB,SegC_Pin,OFF);
		  HAL_GPIO_WritePin(GPIOB,SegD_Pin,OFF);
		  HAL_GPIO_WritePin(GPIOB,SegE_Pin,OFF);
		  HAL_GPIO_WritePin(GPIOA,SegF_Pin,OFF);
		  HAL_GPIO_WritePin(GPIOB,SegG_Pin,OFF);
		  HAL_GPIO_WritePin(GPIOB,SegH_Pin,dot);
	}
	//HAL_Delay(1);

}

void setDateTime(char* pBuf)
{
	RTC_DateTypeDef DateToUpdate;
	RTC_TimeTypeDef TimeToUpdate;

	char tempBuf[4];
	memset(&tempBuf, 0 , 4);
	memcpy(&tempBuf, &pBuf[5], 2);
	DateToUpdate.Year = atoi(tempBuf);

	memset(&tempBuf, 0 , 4);
	memcpy(&tempBuf, &pBuf[8], 2);
	DateToUpdate.Month = atoi(tempBuf);

	memset(&tempBuf, 0 , 4);
	memcpy(&tempBuf, &pBuf[11], 2);
	DateToUpdate.Date = atoi(tempBuf);

	memset(&tempBuf, 0 , 4);
	memcpy(&tempBuf, &pBuf[14], 2);
	TimeToUpdate.Hours = atoi(tempBuf);

	memset(&tempBuf, 0 , 4);
	memcpy(&tempBuf, &pBuf[17], 2);
	TimeToUpdate.Minutes = atoi(tempBuf);

	memset(&tempBuf, 0 , 4);
	memcpy(&tempBuf, &pBuf[20], 2);
	TimeToUpdate.Seconds = atoi(tempBuf);

	if (HAL_RTC_SetTime(&hrtc, &TimeToUpdate, RTC_FORMAT_BIN) != HAL_OK)
	{
		_Error_Handler(__FILE__, __LINE__);
	}

	if (HAL_RTC_SetDate(&hrtc, &DateToUpdate, RTC_FORMAT_BIN) != HAL_OK)
	{
		_Error_Handler(__FILE__, __LINE__);
	}

	HAL_RTCEx_BKUPWrite(&hrtc,RTC_BKP_DR1,0x32F2);
}

void HAL_UART_TxCpltCallback(UART_HandleTypeDef *huart)
{
	  UartCommand* pCmd =  CM_FindUartCommand(ReadCmdID() - 1);//UC_FindUartCommand(CM_GetCommands(), CM_GetCommandsCount(), ReadCmdID() - 1);
	  pCmd->m_IsTransmitedData = 1;
	  if(pCmd==0) return;

	  HAL_UART_Receive_IT(huart, pCmd->m_Rx.buf_cmd, pCmd->m_Rx.buf_size);
}

void HAL_UART_RxCpltCallback(UART_HandleTypeDef *huart)
{
	  uint8_t *pRxBuffPtrTest = huart->pRxBuffPtr - huart->RxXferSize;
	  char buf[4] = {0, 0, 0, 0};
	  memcpy(&buf[0],pRxBuffPtrTest, 3);
	  uint8_t cmd_id = atoi(&buf[0]);
	  if(buf[0] == '>')
	  {
		  memcpy(&buf[0],pRxBuffPtrTest+2, 3);
		  cmd_id = atoi(&buf[0]);
	  }
	  UartCommand* pCmd = CM_FindUartCommand(cmd_id);
	  pCmd->m_IsRecivedData = 1;
}

void TIM2_callback()
{
	char* disp = IW18_BUF();
	static uint8_t segment = 0;

		if(segment == 1){
			printCharOnSegment(GPIOB,Seg1_Pin,0, dots[0]);//0 = 48
		}
		else if(segment == 2){
			printCharOnSegment(GPIOA,Seg2_Pin, disp[0], dots[1]);
		}
		else if(segment == 3){
			printCharOnSegment(GPIOA,Seg3_Pin, disp[1], dots[2]); // '-' = 45, '9' = 59
		}
		else if(segment == 4){
			printCharOnSegment(GPIOA,Seg4_Pin, disp[2], dots[3]);
		}
		else if(segment == 5){
			printCharOnSegment(GPIOB,Seg5_Pin, disp[3], dots[4]);
		}
		else if(segment == 6){
			printCharOnSegment(GPIOA,Seg6_Pin, disp[4], dots[5]);
		}
		else if(segment == 7){
			printCharOnSegment(GPIOC,Seg7_Pin, disp[5], dots[6]);
		}
		else if(segment == 8){
			printCharOnSegment(GPIOA,Seg8_Pin, disp[6], dots[7]);
		}
		else if(segment == 9){
			printCharOnSegment(GPIOB,Seg9_Pin, disp[7], dots[8]);
		}
		if(segment++>8) segment=0;

	  //AS_RDA5807M_ReadRegisters();
}
/* USER CODE END 4 */

void _Error_Handler(char *file, int line)
{
  while(1)
  {
  }
}

/************************ (C) COPYRIGHT STMicroelectronics *****END OF FILE****/
